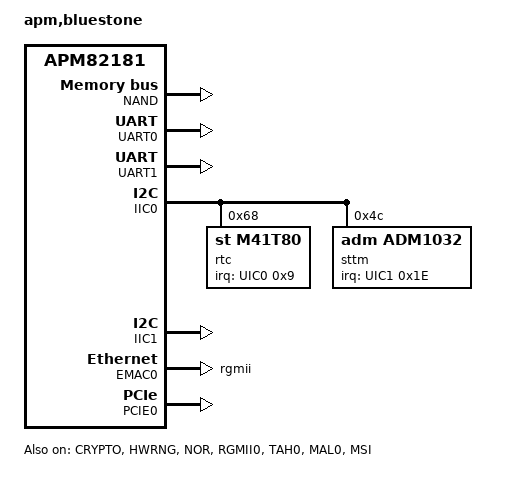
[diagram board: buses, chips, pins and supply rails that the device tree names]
// SPDX-License-Identifier: GPL-2.0-or-later
/*
 * Device Tree for Bluestone (APM821xx) board.
 *
 * Copyright (c) 2010, Applied Micro Circuits Corporation
 * Author: Tirumala R Marri <tmarri@apm.com>
 */

/dts-v1/;

#include "apm82181.dtsi"

/ {
	model = "apm,bluestone";
	compatible = "apm,bluestone";

	aliases {
		serial0 = &UART0;
		serial1 = &UART1;
	};
};

&CRYPTO {
	status = "okay";
};

&HWRNG {
	status = "okay";
};

&NOR {
	status = "okay";

	compatible = "amd,s29gl512n", "cfi-flash";
	bank-width = <2>;
	reg = <0x00000000 0x00000000 0x00400000>;

	partition@0 {
		label = "kernel";
		reg = <0x00000000 0x00180000>;
	};
	partition@180000 {
		label = "env";
		reg = <0x00180000 0x00020000>;
	};
	partition@1a0000 {
		label = "u-boot";
		reg = <0x001a0000 0x00060000>;
	};
};

&NAND {
	status = "okay";

	/* 2Gb Nand Flash */
	nand {
		partition@0 {
			label = "firmware";
			reg   = <0x00000000 0x00C00000>;
		};
		partition@c00000 {
			label = "environment";
			reg   = <0x00C00000 0x00B00000>;
		};
		partition@1700000 {
			label = "kernel";
			reg   = <0x01700000 0x00E00000>;
		};
		partition@2500000 {
			label = "root";
			reg   = <0x02500000 0x08200000>;
		};
		partition@a700000 {
			label = "device-tree";
			reg   = <0x0A700000 0x00B00000>;
		};
		partition@b200000 {
			label = "config";
			reg   = <0x0B200000 0x00D00000>;
		};
		partition@bf00000 {
			label = "diag";
			reg   = <0x0BF00000 0x00C00000>;
		};
		partition@cb00000 {
			label = "vendor";
			reg   = <0x0CB00000 0x3500000>;
		};
	};
};

&UART0 {
	status = "okay";
};

&UART1 {
	status = "okay";
};

&IIC0 {
	status = "okay";
	rtc@68 {
		compatible = "st,m41t80";
		reg = <0x68>;
		interrupt-parent = <&UIC0>;
		interrupts = <0x9 0x8>;
	};
	sttm@4C {
		compatible = "adm,adm1032";
		reg = <0x4C>;
		interrupt-parent = <&UIC1>;
		interrupts = <0x1E 0x8>; /* CPU_THERNAL_L */
	};
};

&IIC1 {
	status = "okay";
};

&RGMII0 {
	status = "okay";
};

&TAH0 {
	status = "okay";
};

&MAL0 {
	status = "okay";
};

&EMAC0 {
	status = "okay";
	local-mac-address = [000000000000]; /* Filled in by U-Boot */
	phy-mode = "rgmii";
	phy-map = <0x00000000>;
};

&PCIE0 {
	status = "okay";
};

&MSI {
	status = "okay";
};
